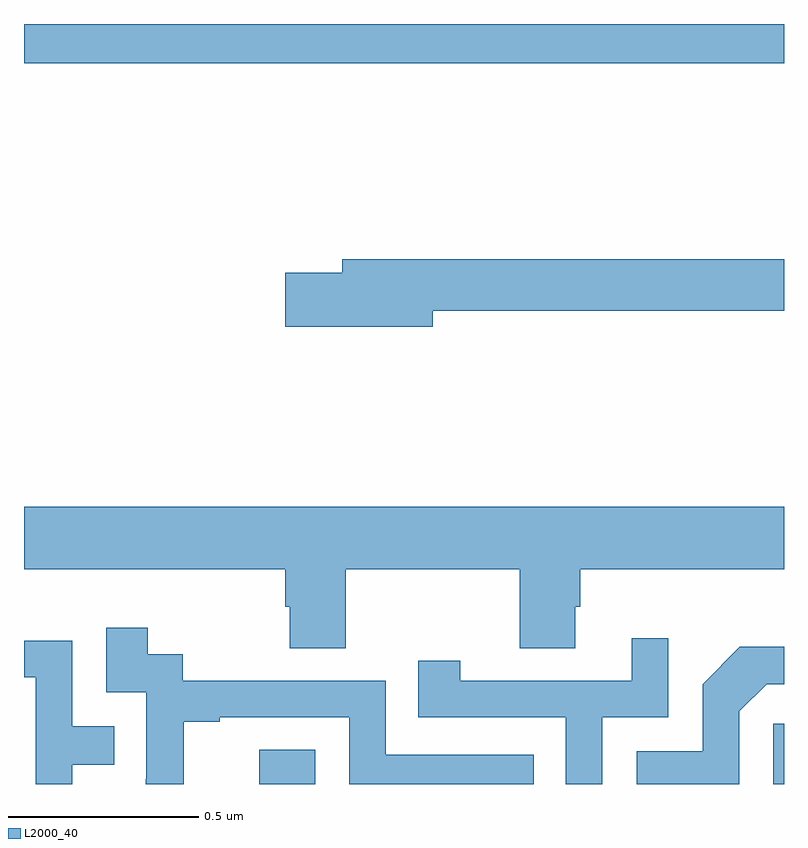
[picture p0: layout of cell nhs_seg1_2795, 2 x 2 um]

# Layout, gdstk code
import gdstk
lib = gdstk.Library(unit=1e-6, precision=1e-09)
def R(c, l, rs):  # rectangles x0, y0, x1, y1
    for r in rs: c.add(gdstk.rectangle(r[:2], r[2:], *l))
def P(c, l, *ps):  # polygons
    for p in ps: c.add(gdstk.Polygon(p, *l))
L2000_40 = (2000, 40)

nhs_seg1_2795 = lib.new_cell('nhs_seg1_2795')
R(nhs_seg1_2795, L2000_40, [(146.619,519.199,146.766,519.289), (147.972,519.199,148,519.358), (146,521.096,148,521.199)])
P(nhs_seg1_2795, L2000_40, [(147.076,520.444),(148,520.444),(148,520.58),(146.837,520.58),(146.837,520.544),(146.688,520.544),(146.688,520.402),(147.076,520.402)],
  [(146.847,519.764),(147.304,519.764),(147.304,519.556),(147.451,519.556),(147.451,519.666),(147.464,519.666),(147.464,519.764),(148,519.764),(148,519.928),(146,519.928),(146,519.764),(146.687,519.764),(146.687,519.666),(146.699,519.666),(146.699,519.556),(146.847,519.556)],
  [(146.42,519.363),(146.515,519.363),(146.515,519.375),(146.856,519.375),(146.856,519.199),(147.341,519.199),(147.341,519.276),(146.952,519.276),(146.952,519.471),(146.418,519.471),(146.418,519.54),(146.326,519.54),(146.326,519.61),(146.217,519.61),(146.217,519.441),(146.322,519.441),(146.322,519.212),(146.321,519.212),(146.321,519.199),(146.42,519.199)],
  [(147.522,519.375),(147.696,519.375),(147.696,519.583),(147.599,519.583),(147.599,519.471),(147.148,519.471),(147.148,519.523),(147.037,519.523),(147.037,519.375),(147.426,519.375),(147.426,519.199),(147.522,519.199)],
  [(146.127,519.25),(146.237,519.25),(146.237,519.351),(146.127,519.351),(146.127,519.576),(146,519.576),(146,519.48),(146.031,519.48),(146.031,519.199),(146.127,519.199)],
  [(147.882,519.39),(147.954,519.462),(148,519.462),(148,519.56),(147.884,519.56),(147.786,519.462),(147.786,519.285),(147.612,519.285),(147.612,519.199),(147.882,519.199)])

lib.write_gds('nhs_seg1_2795.gds')
